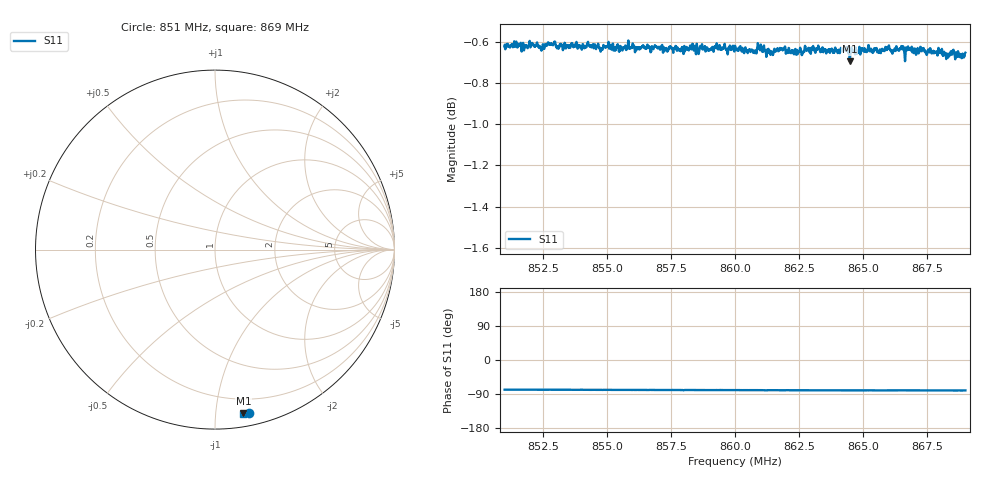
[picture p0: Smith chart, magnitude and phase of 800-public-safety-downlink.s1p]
! Calibrated averaged scanner-service zoom
# Hz S RI R 50
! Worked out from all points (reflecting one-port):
!   2001 points, 851 MHz to 869 MHz, reference 50 ohm
!   lowest |S11| = -0.7 dB at 864.48 MHz (marker M1), VSWR 25.08, Z = 4.8 - j59.2 ohm
!   phase of S11 starts at -78 deg and turns -2 deg over the sweep
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8.51e8  0.1891 -0.9117
8.5325e8  0.1858 -0.9126
8.555e8  0.1792 -0.9119
8.56751e8  0.1784 -0.9139
8.573e8  0.1749 -0.9131
8.5775e8  0.1752 -0.913
8.57975e8  0.1667 -0.9127
8.5811e8  0.1742 -0.9143
8.58398e8  0.1743 -0.9126
8.58965e8  0.1711 -0.9129
8.59352e8  0.1712 -0.9137
8.59694e8  0.1692 -0.9128
8.6e8  0.1698 -0.9157
8.60765e8  0.1682 -0.9126
8.60954e8  0.1665 -0.9149
8.61269e8  0.1671 -0.9143
8.61584e8  0.1678 -0.913
8.6225e8  0.1635 -0.9142
8.63888e8  0.1633 -0.9139
8.64482e8  0.1579 -0.9097
8.645e8  0.1591 -0.9121
8.65247e8  0.1595 -0.9159
8.65706e8  0.1582 -0.915
8.6675e8  0.1607 -0.9166
8.66957e8  0.1578 -0.9163
8.67785e8  0.1587 -0.9143
8.68874e8  0.1544 -0.9132
8.69e8  0.156 -0.9145
